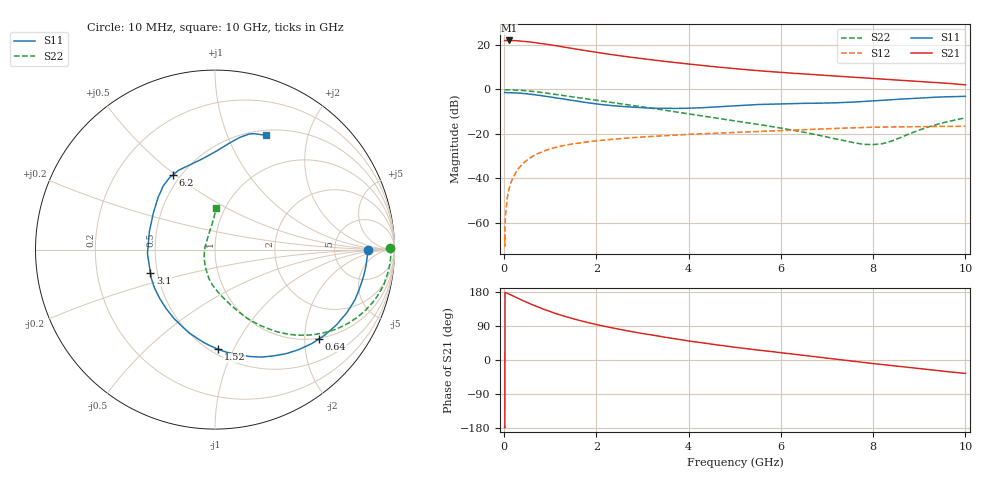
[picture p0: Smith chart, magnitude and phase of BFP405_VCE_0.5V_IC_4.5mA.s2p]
! Infineon Technologies  Discrete & RF Semiconductors
! BFP405
! VCE =  0.5 V,  IC =  4.5 mA
! Common Emitter S-Parameters:  Jan 2016
# GHz  S  MA  R  50
!  f  S11  S21  S12  S22
! GHz  MAG  ANG  MAG  ANG  MAG  ANG  MAG  ANG
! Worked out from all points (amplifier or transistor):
!   233 points, 10 MHz to 10 GHz, reference 50 ohm
!   highest |S21| = 22.0 dB at 100 MHz (marker M1)
!   |S21| within 3 dB of that: start of sweep to 1.31 GHz
!   unconditionally stable (mu >= 1): start of sweep to 17.56 MHz; 3.243 GHz to end of sweep
!   at 200 MHz: K = 0.10, MSG = 30.7 dB, |S12| = -39.4 dB
!   at 1.74 GHz: K = 0.58, MSG = 20.6 dB, |S12| = -23.7 dB
!   at 10 GHz: K = 1.53, MAG = 5.0 dB, |S12| = -16.6 dB
!   S11 on the Smith chart (normalised r, x): 10 MHz: 12, +0; 640 MHz: 0.99, -2.35; 1.52 GHz: 0.54, -0.87; 3.1 GHz: 0.46, -0.14; 6.2 GHz: 0.45, +0.49; 10 GHz: 0.56, +1.39
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0.01  0.8513 0.0  12.51 -177.1  0.0005 -55.6  0.976 0.6
0.015  0.8508 -0.7  12.5 -179.2  0.0003 50.9  0.9772 0.0
0.02  0.8505 -1.4  12.52 178.7  0.0009 83.1  0.9785 -0.5
0.1  0.8457 -6.6  12.58 174.1  0.0055 87.8  0.9798 -3.7
0.3  0.8286 -19.6  12.34 162.9  0.0161 79.5  0.9621 -11.3
0.48  0.7985 -30.8  11.9 152.8  0.025 73.4  0.9311 -17.7
0.64  0.7642 -40.5  11.36 144.6  0.0324 68.2  0.8951 -23.1
0.8  0.7267 -50.1  10.82 136.6  0.0388 63.8  0.8565 -28.0
1  0.6764 -61.1  10.05 127.6  0.0462 58.5  0.8029 -33.7
1.2  0.6267 -71.9  9.305 119.5  0.0522 54.1  0.7505 -38.5
1.52  0.5555 -88.2  8.188 108.0  0.0603 48.1  0.6711 -45.3
1.68  0.525 -95.9  7.69 102.8  0.0638 45.4  0.6343 -48.2
2.22  0.4447 -121.4  6.286 87.7  0.0736 38.5  0.5281 -56.3
2.64  0.4078 -140.2  5.461 77.7  0.0801 34.1  0.4586 -61.8
3.1  0.3828 -159.9  4.753 68.0  0.0865 29.9  0.3911 -67.4
3.4  0.3754 -172.4  4.362 61.9  0.0904 27.3  0.3504 -71.1
4  0.3792 164.8  3.714 50.2  0.0975 22.6  0.28 -79.2
5.1  0.4345 135.8  2.863 32.2  0.109 14.8  0.1887 -96.0
6.2  0.4782 119.2  2.33 16.5  0.1208 7.8  0.1241 -113.3
6.8  0.4892 109.3  2.116 7.9  0.1279 3.8  0.0941 -127.4
8.4  0.587 83.7  1.652 -14.7  0.1433 -9.7  0.0689 130.2
10  0.698 65.8  1.266 -35.4  0.1483 -20.8  0.2293 88.6
